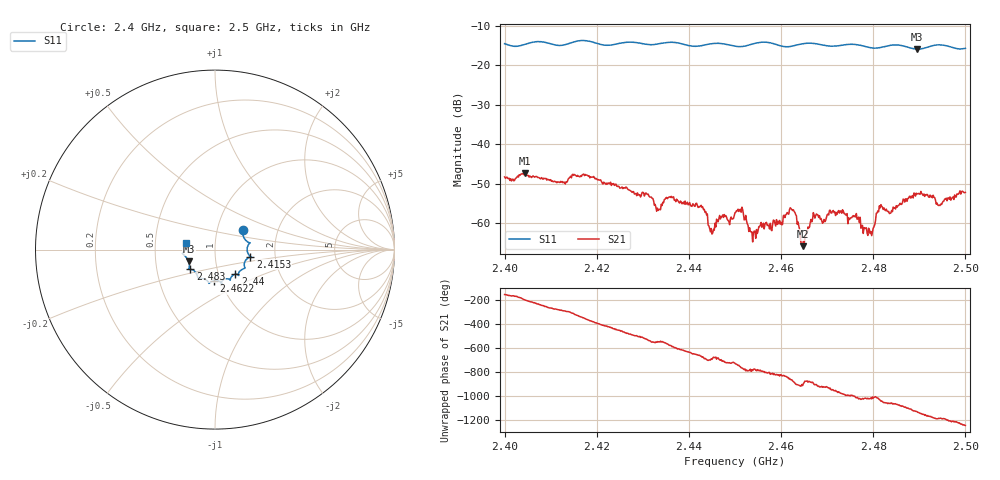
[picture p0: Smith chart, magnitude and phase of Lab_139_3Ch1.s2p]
# Hz S RI R 50
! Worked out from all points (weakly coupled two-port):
!   601 points, 2.4 GHz to 2.5 GHz, reference 50 ohm
!   highest |S21| = -47.34 dB at 2.4043 GHz (marker M1); lowest = -65.8 dB at 2.4647 GHz (marker M2)
!   lowest |S11| = -15.9 dB at 2.4895 GHz (marker M3), VSWR 1.38, Z = 36.9 - j4.99 ohm
!   |S11| at or under -10 dB: start of sweep to end of sweep
!   S12 and S22 are empty: the file has one direction only
!   S11 on the Smith chart (normalised r, x): 2.4 GHz: 1.33, +0.29; 2.4153 GHz: 1.48, -0.12; 2.44 GHz: 1.20, -0.34; 2.4622 GHz: 0.93, -0.33; 2.483 GHz: 0.74, -0.17; 2.5 GHz: 0.72, +0.06
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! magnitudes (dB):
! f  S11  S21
! 2.4 GHz  -14.5  -48.3
! 2.4043 GHz  -14.7  -47.3
! 2.4153 GHz  -14.0  -47.8
! 2.4167 GHz  -13.7  -48.2
! 2.4333 GHz  -14.6  -56.8
! 2.44 GHz  -15.0  -55.1
! 2.4432 GHz  -14.9  -56.6
! 2.445 GHz  -14.5  -62.8
! 2.45 GHz  -15.1  -57.4
! 2.4513 GHz  -15.2  -57.2
! 2.454 GHz  -14.5  -62.4
! 2.4622 GHz  -15.2  -56.3
! 2.4647 GHz  -14.5  -65.8
! 2.4667 GHz  -14.4  -59.7
! 2.473 GHz  -14.9  -56.9
! 2.4792 GHz  -15.5  -61.7
! 2.4813 GHz  -15.5  -55.6
! 2.483 GHz  -15.1  -56.9
! 2.4833 GHz  -15.0  -57.0
! 2.4895 GHz  -15.9  -52.6
! 2.4943 GHz  -14.8  -55.5
! 2.5 GHz  -15.7  -52.2
